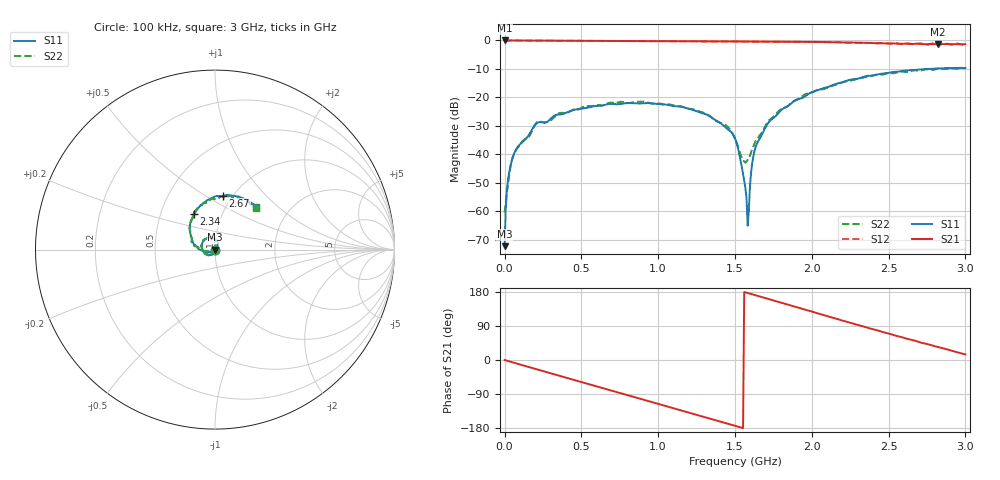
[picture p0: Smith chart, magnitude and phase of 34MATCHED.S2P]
!Agilent Technologies,E5071C,MY46107260,A.09.30
!Date: Mon Jan 01 00:38:27 2001
!Data & Calibration Information:
!Freq	S11:SOLT2(ON)	S21:SOLT2(ON)	S12:SOLT2(ON)	S22:SOLT2(ON)
# Hz S dB R 50
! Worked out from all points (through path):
!   401 points, 100 kHz to 3 GHz, reference 50 ohm
!   highest |S21| = 0.00 dB at 100 kHz (marker M1); lowest = -1.3 dB at 2.82 GHz (marker M2)
!   group delay of S21, straight-line fit = 321 ps
!   lowest |S11| = -72.2 dB at 100 kHz (marker M3), VSWR 1.00, Z = 50 - j0.00472 ohm
!   |S11| at or under -10 dB: start of sweep to 2.767 GHz
!   |S22| runs from -60.4 to -9.7 dB; largest |S21 - S12| = 0.032
!   S11 on the Smith chart (normalised r, x): 100 kHz: 1.00, -0.00; 2.34 GHz: 0.73, +0.31; 2.67 GHz: 0.91, +0.60; 3 GHz: 1.37, +0.72
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100000  -72.18 -11.1  0.00 -0.0  -0.00 -0.0  -60.35 -13.1
3.0099e7  -46.27 -92.8  -0.01 -3.6  -0.01 -3.6  -46.96 -97.1
8.259725e7  -37.60 -109.5  -0.02 -9.8  -0.02 -9.8  -37.81 -101.6
2.175928e8  -28.77 -124.5  -0.06 -25.5  -0.06 -25.5  -28.50 -125.9
5.025832e8  -23.91 -165.4  -0.13 -58.4  -0.13 -58.4  -23.56 -169.5
7.650745e8  -22.18 157.5  -0.18 -88.6  -0.18 -88.6  -21.53 158.4
1.005066e9  -22.32 121.1  -0.25 -116.3  -0.25 -116.3  -22.16 124.7
1.305056e9  -25.80 81.7  -0.31 -151.1  -0.32 -150.9  -25.50 89.9
1.50005e9  -34.34 49.5  -0.36 -173.6  -0.36 -173.4  -34.49 86.4
1.552548e9  -46.85 39.1  -0.36 -179.7  -0.36 -179.5  -42.19 119.7
1.575048e9  -55.39 45.7  -0.37 177.7  -0.37 177.9  -42.46 140.1
1.582547e9  -65.00 65.4  -0.37 176.8  -0.37 177.0  -41.88 147.2
1.597547e9  -51.00 -145.5  -0.37 175.1  -0.37 175.2  -40.36 158.6
1.612546e9  -42.89 -143.8  -0.37 173.4  -0.38 173.5  -37.91 171.3
1.627546e9  -38.65 -144.3  -0.38 171.6  -0.38 171.7  -36.12 -178.9
1.702543e9  -30.14 -153.5  -0.40 162.8  -0.41 162.9  -29.47 -170.4
2.002533e9  -18.10 164.6  -0.49 127.6  -0.53 127.6  -18.24 165.9
2.340022e9  -12.70 120.8  -0.78 88.2  -0.90 88.0  -12.97 122.9
2.505016e9  -11.29 101.4  -1.00 69.3  -1.19 69.0  -11.50 103.9
2.670011e9  -10.38 81.6  -1.16 51.2  -1.40 51.0  -10.48 83.2
2.820006e9  -9.80 65.5  -1.34 34.5  -1.50 33.4  -9.94 65.4
3e9  -9.69 45.8  -1.33 14.7  -1.57 15.5  -9.79 45.5
